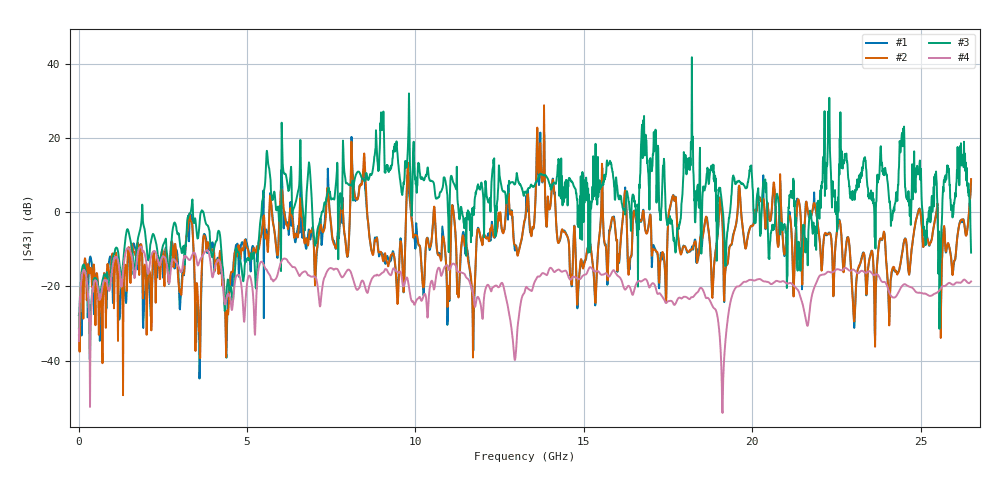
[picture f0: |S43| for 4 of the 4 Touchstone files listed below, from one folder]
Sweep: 10 MHz to 26.5 GHz
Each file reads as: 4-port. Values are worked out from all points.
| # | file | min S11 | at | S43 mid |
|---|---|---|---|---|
| 1 | file1source_out_half_cascade.s4p | -42.1 dB | 26.38 GHz | -1.7 dB at 13.26 GHz |
| 2 | file1source_thru_sum.s4p | -45.2 dB | 600 MHz | -1.8 dB at 13.26 GHz |
| 3 | newfile_add.s4p | -49.0 dB | 1.95 GHz | 5.6 dB at 13.26 GHz |
| 4 | Replica_S4P_HTG_FMC_X6QSFP28.s4p | -42.2 dB | 2.05 GHz | -20.8 dB at 13.26 GHz |
